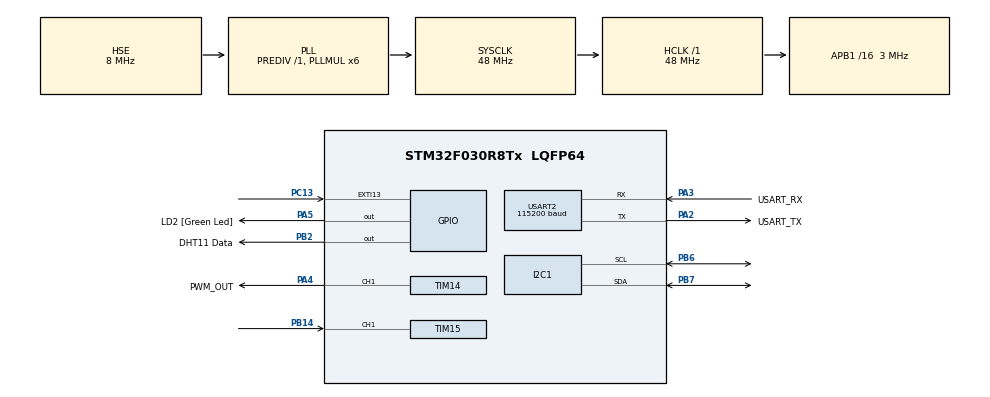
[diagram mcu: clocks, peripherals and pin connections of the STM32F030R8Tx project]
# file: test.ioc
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I2C1.Timing=0x00201D2B
Mcu.Family=STM32F0
Mcu.Name=STM32F030R8Tx
Mcu.Package=LQFP64
NVIC.TIM15_IRQn=true\:0\:0\:false\:false\:true\:true\:true\:true
NVIC.USART2_IRQn=true\:0\:0\:false\:false\:true\:true\:true\:true
PA13.GPIO_Label=TMS
PA13.Mode=Serial_Wire
PA13.Signal=SYS_SWDIO
PA14.GPIO_Label=TCK
PA14.Mode=Serial_Wire
PA14.Signal=SYS_SWCLK
PA2.GPIO_Label=USART_TX
PA2.GPIO_Mode=GPIO_MODE_AF_PP
PA2.GPIO_PuPd=GPIO_NOPULL
PA2.GPIO_Speed=GPIO_SPEED_FREQ_LOW
PA2.Mode=Asynchronous
PA2.Signal=USART2_TX
PA3.GPIO_Label=USART_RX
PA3.GPIO_Mode=GPIO_MODE_AF_PP
PA3.GPIO_PuPd=GPIO_NOPULL
PA3.GPIO_Speed=GPIO_SPEED_FREQ_LOW
PA3.Mode=Asynchronous
PA3.Signal=USART2_RX
PA4.GPIO_Label=PWM_OUT
PA4.Signal=S_TIM14_CH1
PA5.GPIO_Label=LD2 [Green Led]
PA5.GPIO_Mode=GPIO_MODE_OUTPUT_PP
PA5.GPIO_PuPd=GPIO_NOPULL
PA5.GPIO_Speed=GPIO_SPEED_FREQ_LOW
PA5.Signal=GPIO_Output
PB14.Signal=S_TIM15_CH1
PB2.GPIO_Label=DHT11 Data
PB2.Signal=GPIO_Output
PB6.Mode=I2C
PB6.Signal=I2C1_SCL
PB7.Mode=I2C
PB7.Signal=I2C1_SDA
PC13.Signal=GPXTI13
PC14-OSC32_IN.Mode=LSE-External-Oscillator
PC14-OSC32_IN.Signal=RCC_OSC32_IN
PC15-OSC32_OUT.Mode=LSE-External-Oscillator
PC15-OSC32_OUT.Signal=RCC_OSC32_OUT
PF0-OSC_IN.Mode=HSE-External-Clock-Source
PF0-OSC_IN.Signal=RCC_OSC_IN
PF1-OSC_OUT.Signal=RCC_OSC_OUT
ProjectManager.HeapSize=0x200
ProjectManager.StackSize=0x400
ProjectManager.TargetToolchain=STM32CubeIDE
RCC.AHBFreq_Value=48000000
RCC.APB1CLKDivider=RCC_HCLK_DIV16
RCC.APB1Freq_Value=3000000
RCC.APB1TimFreq_Value=6000000
RCC.HCLKFreq_Value=48000000
RCC.PLLMUL=RCC_PLL_MUL6
RCC.PLLSourceVirtual=RCC_PLLSOURCE_HSE
RCC.SYSCLKFreq_VALUE=48000000
RCC.SYSCLKSource=RCC_SYSCLKSOURCE_PLLCLK
SH.S_TIM14_CH1.0=TIM14_CH1,PWM Generation1 CH1
SH.S_TIM15_CH1.0=TIM15_CH1,Input_Capture1_from_TI1
TIM14.Channel=TIM_CHANNEL_1
TIM14.ClockDivision=TIM_CLOCKDIVISION_DIV1
TIM14.OCMode_PWM=TIM_OCMODE_PWM1
TIM14.Period=200 - 1
TIM14.Prescaler=600 - 1
TIM14.Pulse=15
TIM15.Channel-Input_Capture1_from_TI1=TIM_CHANNEL_1
TIM15.ICPolarity_CH1=TIM_INPUTCHANNELPOLARITY_BOTHEDGE
TIM15.Prescaler=12 - 1
TIM6.Period=65536 - 1
TIM6.Prescaler=3 - 1
USART2.BaudRate=115200
USART2.OverSampling=UART_OVERSAMPLING_16
USART2.VirtualMode-Asynchronous=VM_ASYNC
VP_TIM14_VS_ClockSourceINT.Mode=Enable_Timer
VP_TIM15_VS_ClockSourceINT.Mode=Internal
VP_TIM6_VS_ClockSourceINT.Mode=Enable_Timer
board=NUCLEO-F030R8

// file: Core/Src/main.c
/* USER CODE BEGIN Header */
/**
  ******************************************************************************
  * @file           : main.c
  * @brief          : Main program body
  ******************************************************************************
  * @attention
  *
  * Copyright (c) 2026 STMicroelectronics.
  * All rights reserved.
  *
  * This software is licensed under terms that can be found in the LICENSE file
  * in the root directory of this software component.
  * If no LICENSE file comes with this software, it is provided AS-IS.
  *
  ******************************************************************************
  */
/* USER CODE END Header */
#include "main.h"
#include "i2c.h"
#include "tim.h"
#include "usart.h"
#include "gpio.h"

/* USER CODE BEGIN Includes */
#include <stdio.h>
#include <stdlib.h>
#include <string.h>
#include "2004a_i2c_lcd.h"
#include "dht11.h"

/* USER CODE END Includes */

/* USER CODE BEGIN PV */
static char        uart_msg[MAX_UART_MSG_LEN] = {0};
static char        uart_cmd[MAX_UART_MSG_LEN - 15] = {0};
static uint32_t    uart_msg_len               = 0;
static uint32_t    uart_cmd_len               = 0;
static float       rh                         = 0.0;
static float       temp_C                     = 0.0;
static float       temp_F                     = 0.0;
/* USER CODE END PV */

void SystemClock_Config(void);
/* USER CODE BEGIN PFP */
static void UpdateLCDDisplay(DHT11_Device* dht, uint16_t lcd_device_addr);
static void UpdateUARTMessages(void);
/* USER CODE END PFP */

/* USER CODE BEGIN 0 */
#ifdef LOG_IN_MAIN_LOOP
extern uint32_t detected_pw;
extern uint32_t rise_ts;
extern uint32_t fall_ts;
#endif

/* USER CODE END 0 */

int main(void)
{

  /* USER CODE BEGIN 1 */
	HAL_StatusTypeDef ret                        = HAL_ERROR;
	uint16_t          lcd_device_addr            = 0;
	uint16_t          idx                        = 0;
	DHT11_Device      dht11                      = {0};
	uint32_t          start_tick                 = 0;

  /* USER CODE END 1 */

  /* MCU Configuration--------------------------------------------------------*/

  /* Reset of all peripherals, Initializes the Flash interface and the Systick. */
  HAL_Init();

  /* Configure the system clock */
  SystemClock_Config();

  /* Initialize all configured peripherals */
  MX_GPIO_Init();
  MX_USART2_UART_Init();
  MX_I2C1_Init();
  MX_TIM6_Init();
  MX_TIM14_Init();
  MX_TIM15_Init();
  /* USER CODE BEGIN 2 */

  // start timer
  HAL_TIM_Base_Start(&htim6);
  HAL_TIM_IC_Start_IT(&htim15, TIM_CHANNEL_1);
#ifdef PW_MEASURE_TEST
  HAL_TIM_PWM_Start(&htim14, TIM_CHANNEL_1);
#endif
  HAL_Delay(5);
  DHT11_Init(&dht11, &htim6);

  // introductory message
  sprintf(uart_msg, "USART2 Initialized.\r\n");
  uart_msg_len = strlen(uart_msg);
  ret = HAL_UART_Transmit(&huart2, (const uint8_t*) uart_msg, uart_msg_len, FUNC_TIMEOUT);
  if (HAL_OK != ret) {
	  sprintf(uart_msg, "USART2 Error.\r\n");
	  uart_msg_len = strlen(uart_msg);
	  HAL_UART_Transmit(&huart2, (const uint8_t*) uart_msg, uart_msg_len, FUNC_TIMEOUT);
  }

  // search for LCD display
  for (idx = 0; idx < MAX_I2C_DEVICES; idx++) {
	  ret = HAL_I2C_IsDeviceReady(&hi2c1, (idx << 1), MAX_I2C_RETRY, FUNC_TIMEOUT);
	  if (HAL_OK == ret) {
		  sprintf(uart_msg, "Found I2C Device at Address 0x%x\r\n", idx);
		  uart_msg_len = strlen(uart_msg);
		  HAL_UART_Transmit(&huart2, (const uint8_t*) uart_msg, uart_msg_len, FUNC_TIMEOUT);

		  if (idx == LCD_DEVICE_ADDR) {
			  sprintf(uart_msg, "LCD Found at Address 0x%x\r\n", idx);
			  uart_msg_len = strlen(uart_msg);
			  HAL_UART_Transmit(&huart2, (const uint8_t*) uart_msg, uart_msg_len, FUNC_TIMEOUT);
			  lcd_device_addr = (idx << 1);
			  break;
		  }
	  }
  }

  if (idx != MAX_I2C_DEVICES) {
	  // Initialize LCD Display
	  LCD_Init(&hi2c1, lcd_device_addr);
  }

//  delay_us(100);

  sprintf(uart_msg, "$ ");
  uart_msg_len = strlen(uart_msg);
  HAL_UART_Transmit(&huart2, (uint8_t*) uart_msg, uart_msg_len, HAL_TIMEOUT);

  memset(uart_cmd, 0, sizeof(uart_cmd));
  uart_cmd_len = 0;
  HAL_UART_Receive_IT(&huart2, (uint8_t*) uart_msg, 1);

  /* USER CODE END 2 */

  /* Infinite loop */
  /* USER CODE BEGIN WHILE */
  HAL_Delay(5000);
  ReadDHT11(&dht11);
  start_tick = HAL_GetTick();
  while (1)
  {
    /* USER CODE END WHILE */

    /* USER CODE BEGIN 3 */

	// create a non-blocking delay by reading the system clock
	if (HAL_GetTick() - start_tick > 5000) {		// 5s elapsed
		start_tick = HAL_GetTick();
		UpdateLCDDisplay(&dht11, lcd_device_addr);
		UpdateUARTMessages();
	}
  }

  HAL_TIM_Base_Stop(&htim6);
  HAL_TIM_IC_Stop_IT(&htim15, TIM_CHANNEL_1);
#ifdef PW_MEASURE_TEST
  HAL_TIM_PWM_Stop(&htim14, TIM_CHANNEL_1);
#endif

  /* USER CODE END 3 */
}

void SystemClock_Config(void)
{
  RCC_OscInitTypeDef RCC_OscInitStruct = {0};
  RCC_ClkInitTypeDef RCC_ClkInitStruct = {0};
  RCC_PeriphCLKInitTypeDef PeriphClkInit = {0};

  /** Initializes the RCC Oscillators according to the specified parameters
  * in the RCC_OscInitTypeDef structure.
  */
  RCC_OscInitStruct.OscillatorType = RCC_OSCILLATORTYPE_HSI|RCC_OSCILLATORTYPE_HSE;
  RCC_OscInitStruct.HSEState = RCC_HSE_BYPASS;
  RCC_OscInitStruct.HSIState = RCC_HSI_ON;
  RCC_OscInitStruct.HSICalibrationValue = RCC_HSICALIBRATION_DEFAULT;
  RCC_OscInitStruct.PLL.PLLState = RCC_PLL_ON;
  RCC_OscInitStruct.PLL.PLLSource = RCC_PLLSOURCE_HSE;
  RCC_OscInitStruct.PLL.PLLMUL = RCC_PLL_MUL6;
  RCC_OscInitStruct.PLL.PREDIV = RCC_PREDIV_DIV1;
  if (HAL_RCC_OscConfig(&RCC_OscInitStruct) != HAL_OK)
  {
    Error_Handler();
  }

  /** Initializes the CPU, AHB and APB buses clocks
  */
  RCC_ClkInitStruct.ClockType = RCC_CLOCKTYPE_HCLK|RCC_CLOCKTYPE_SYSCLK
                              |RCC_CLOCKTYPE_PCLK1;
  RCC_ClkInitStruct.SYSCLKSource = RCC_SYSCLKSOURCE_PLLCLK;
  RCC_ClkInitStruct.AHBCLKDivider = RCC_SYSCLK_DIV1;
  RCC_ClkInitStruct.APB1CLKDivider = RCC_HCLK_DIV16;

  if (HAL_RCC_ClockConfig(&RCC_ClkInitStruct, FLASH_LATENCY_1) != HAL_OK)
  {
    Error_Handler();
  }
  PeriphClkInit.PeriphClockSelection = RCC_PERIPHCLK_I2C1;
  PeriphClkInit.I2c1ClockSelection = RCC_I2C1CLKSOURCE_HSI;
  if (HAL_RCCEx_PeriphCLKConfig(&PeriphClkInit) != HAL_OK)
  {
    Error_Handler();
  }
}

/* USER CODE BEGIN 4 */
void UpdateLCDDisplay(DHT11_Device* dht, uint16_t lcd_device_addr)
{
	char     lcd_msg[MAX_LCD_MSG_LEN]   = {0};
	uint32_t lcd_msg_len                = 0;

	ReadDHT11(dht);
	LCD_ClearDisplay(&hi2c1, lcd_device_addr);

	rh = ((float) dht->rh_int) + ((float) dht->rh_dec) / 1000.0f;
	temp_C = ((float) dht->temp_int) + ((float) dht->temp_dec) / 1000.0f;
	temp_F = (temp_C * 1.8f) + 32.0f;

	HAL_Delay(1);  // required for LCD display to work

	sprintf(lcd_msg, "Rel Humidity: %02.1f%%", rh);
	lcd_msg_len = strlen(lcd_msg);
	LCD_WriteData(&hi2c1, lcd_device_addr, (uint8_t*) lcd_msg, lcd_msg_len);

	LCD_SetDDRAMAddr(&hi2c1, lcd_device_addr, LCD_DISP_LINE1_START);
	sprintf(lcd_msg, "Temperature:");
	lcd_msg_len = strlen(lcd_msg);
	LCD_WriteData(&hi2c1, lcd_device_addr, (uint8_t*) lcd_msg, lcd_msg_len);

	LCD_SetDDRAMAddr(&hi2c1, lcd_device_addr, LCD_DISP_LINE2_START);
	sprintf(lcd_msg, "%02.1f %cC", temp_C, 0xDF);
	lcd_msg_len = strlen(lcd_msg);
	LCD_WriteData(&hi2c1, lcd_device_addr, (uint8_t*) lcd_msg, lcd_msg_len);

	LCD_SetDDRAMAddr(&hi2c1, lcd_device_addr, LCD_DISP_LINE3_START);
	sprintf(lcd_msg, "%02.1f %cF", temp_F, 0xDF);
	lcd_msg_len = strlen(lcd_msg);
	LCD_WriteData(&hi2c1, lcd_device_addr, (uint8_t*) lcd_msg, lcd_msg_len);
}

void UpdateUARTMessages(void)
{
#if 0
	char              uart_msg[MAX_UART_MSG_LEN] = {0};
	uint32_t          uart_msg_len               = 0;
	double            period                     = 0.0L;

	sprintf(uart_msg, "Rel Hum: %2.1f%%\r\n", rh);
	uart_msg_len = strlen(uart_msg);
	HAL_UART_Transmit(&huart2, (const uint8_t*) uart_msg, uart_msg_len, HAL_TIMEOUT);

	sprintf(uart_msg, "Temp: %02.2f C, %02.2f F\r\n\r\n", temp_C, temp_F);
	uart_msg_len = strlen(uart_msg);
	HAL_UART_Transmit(&huart2, (const uint8_t*) uart_msg, uart_msg_len, HAL_TIMEOUT);

	period = 1.0f / TIMER_INPUT_CLOCK_FREQ;
	sprintf(uart_msg, "Timer Clock Period: %02.16f\r\n", period);
	uart_msg_len = strlen(uart_msg);
	HAL_UART_Transmit(&huart2, (const uint8_t*) uart_msg, uart_msg_len, HAL_TIMEOUT);
#endif

#ifdef PW_MEASURE_TEST
#ifdef LOG_IN_MAIN_LOOP
	sprintf(uart_msg, "Pulse Width %05u:%05u:%05u\r\n", (unsigned) rise_ts, (unsigned) fall_ts, (unsigned) detected_pw);
	uart_msg_len = strlen(uart_msg);
	HAL_UART_Transmit(&huart2, (const uint8_t*) uart_msg, uart_msg_len, HAL_TIMEOUT);
#endif
#endif
}

static void ExecuteCommand(UART_HandleTypeDef* huart)
{
	char* pch;

	// get command and arguments
	pch = strchr(uart_cmd, ' ');
	if (pch != NULL) {
		int n = (int) (pch - uart_cmd);

		if (strncmp(uart_cmd, "dc", n) == 0) {
			// adjust duty cycle
			int dc = atoi(pch + 1);

			__HAL_TIM_SET_COMPARE(&htim14, TIM_CHANNEL_1, dc);
		} else {
			sprintf(uart_msg, "Invalid Command\r\n$ ");
			uart_msg_len = strlen(uart_msg);
			HAL_UART_Transmit(huart, (const uint8_t*) uart_msg, uart_msg_len, HAL_TIMEOUT);
		}
	} else {
		sprintf(uart_msg, "Invalid Command\r\n$ ");
		uart_msg_len = strlen(uart_msg);
		HAL_UART_Transmit(huart, (const uint8_t*) uart_msg, uart_msg_len, HAL_TIMEOUT);
	}
}

// UART2 Receive Callback
void HAL_UART_RxCpltCallback(UART_HandleTypeDef* huart)
{
	if (&huart2 == huart) {
		if (uart_msg[0] == '\r') {
			sprintf(uart_msg, "\r\n$ ");
			uart_msg_len = strlen(uart_msg);
			HAL_UART_Transmit(huart, (const uint8_t*) uart_msg, uart_msg_len, HAL_TIMEOUT);

			ExecuteCommand(huart);

			memset(uart_cmd, 0, sizeof(uart_cmd));
			uart_cmd_len = 0;
		} else {
			HAL_UART_Transmit(huart, (const uint8_t*) uart_msg, 1, HAL_TIMEOUT);
			uart_cmd[uart_cmd_len] = uart_msg[0];
			uart_cmd_len++;
		}
	}
	HAL_UART_Receive_IT(huart, (uint8_t*) uart_msg, 1);
}

/* USER CODE END 4 */

void Error_Handler(void)
{
  __disable_irq();
  while (1)
  {
  }
}
